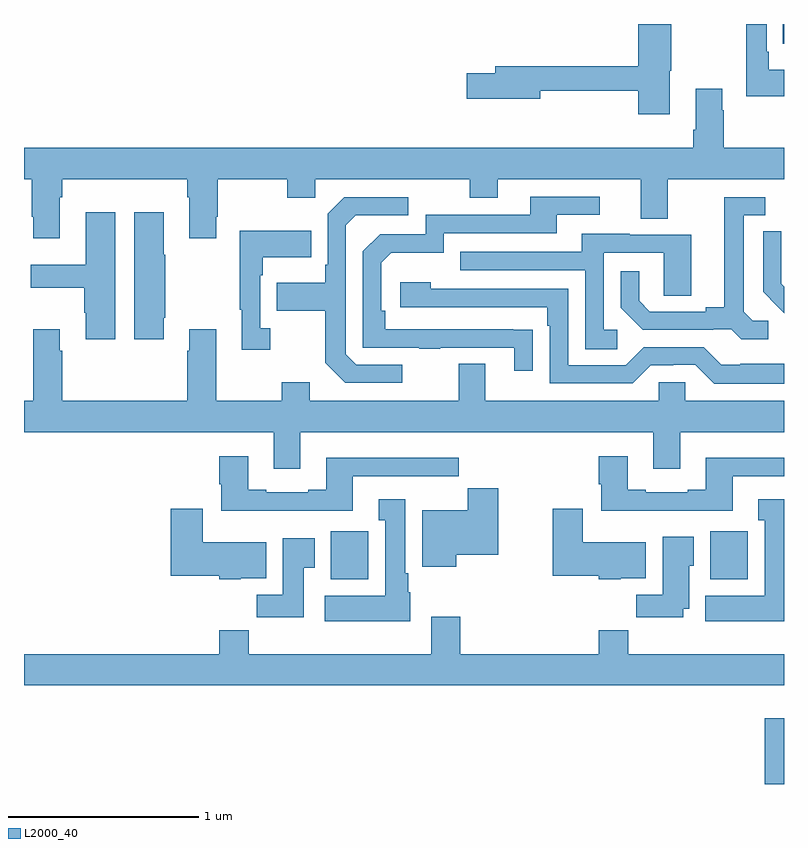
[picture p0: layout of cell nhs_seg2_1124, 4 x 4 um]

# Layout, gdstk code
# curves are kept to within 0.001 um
import gdstk
lib = gdstk.Library(unit=1e-6, precision=1e-09)
def R(c, l, rs):  # rectangles x0, y0, x1, y1
    for r in rs: c.add(gdstk.rectangle(r[:2], r[2:], *l))
def P(c, l, *ps):  # polygons
    for p in ps: c.add(gdstk.Polygon(p, *l))
L2000_40 = (2000, 40)

nhs_seg2_1124 = lib.new_cell('nhs_seg2_1124')
R(nhs_seg2_1124, L2000_40, [(172.898,629.8,173,630.145), (170.615,630.878,170.811,631.129), (172.613,630.878,172.809,631.129), (172.993,633.695,173,633.8)])
P(nhs_seg2_1124, L2000_40, [(172.399,633.555),(172.407,633.555),(172.407,633.8),(172.232,633.8),(172.232,633.578),(171.479,633.578),(171.479,633.542),(171.33,633.542),(171.33,633.407),(171.718,633.407),(171.718,633.45),(172.232,633.45),(172.232,633.324),(172.399,633.324)],
  [(173,633.559),(172.921,633.559),(172.921,633.655),(172.908,633.655),(172.908,633.8),(172.8,633.8),(172.8,633.419),(173,633.419)],
  [(169,632.984),(169.042,632.984),(169.042,632.785),(169.049,632.785),(169.049,632.673),(169.189,632.673),(169.189,632.888),(169.202,632.888),(169.202,632.984),(169.859,632.984),(169.859,632.888),(169.871,632.888),(169.871,632.673),(170.011,632.673),(170.011,632.785),(170.019,632.785),(170.019,632.984),(170.386,632.984),(170.386,632.885),(170.532,632.885),(170.532,632.984),(171.346,632.984),(171.346,632.885),(171.493,632.885),(171.493,632.984),(172.247,632.984),(172.247,632.776),(172.387,632.776),(172.387,632.984),(173,632.984),(173,633.148),(172.683,633.148),(172.683,633.347),(172.675,633.347),(172.675,633.46),(172.535,633.46),(172.535,633.244),(172.523,633.244),(172.523,633.148),(169,633.148)],
  [(171.677,632.192),(170.9,632.193),(170.9,632.29),(170.88,632.29),(170.88,632.544),(170.933,632.597),(171.21,632.597),(171.21,632.7),(171.805,632.7),(171.805,632.796),(172.03,632.796),(172.03,632.892),(171.665,632.892),(171.665,632.796),(171.114,632.796),(171.114,632.694),(170.874,632.694),(170.784,632.604),(170.784,632.097),(171.079,632.097),(171.079,632.092),(171.191,632.092),(171.191,632.097),(171.581,632.097),(171.581,631.974),(171.677,631.974)],
  [(170.992,632.007),(170.748,632.007),(170.694,632.061),(170.694,632.742),(170.745,632.793),(171.022,632.793),(171.022,632.889),(170.685,632.889),(170.598,632.802),(170.598,632.533),(170.586,632.533),(170.586,632.437),(170.329,632.437),(170.329,632.29),(170.586,632.29),(170.586,632.017),(170.691,631.911),(170.992,631.911)],
  [(172.918,632.238),(172.836,632.238),(172.789,632.285),(172.789,632.793),(172.9,632.793),(172.9,632.889),(172.685,632.889),(172.685,632.309),(172.589,632.309),(172.589,632.286),(172.294,632.286),(172.237,632.343),(172.237,632.5),(172.14,632.5),(172.14,632.306),(172.256,632.19),(172.628,632.19),(172.628,632.193),(172.722,632.193),(172.774,632.141),(172.918,632.141)],
  [(169.48,632.809),(169.325,632.809),(169.325,632.533),(169.035,632.533),(169.035,632.411),(169.318,632.411),(169.318,632.281),(169.325,632.281),(169.325,632.142),(169.48,632.142)],
  [(169.735,632.254),(169.743,632.254),(169.743,632.585),(169.735,632.585),(169.735,632.809),(169.58,632.809),(169.58,632.142),(169.735,632.142)],
  [(170.296,632.198),(170.244,632.198),(170.244,632.477),(170.257,632.477),(170.257,632.573),(170.513,632.573),(170.513,632.713),(170.136,632.713),(170.136,632.297),(170.147,632.297),(170.147,632.085),(170.296,632.085)],
  [(173,632.417),(172.985,632.432),(172.985,632.554),(172.986,632.554),(172.986,632.708),(172.89,632.708),(172.89,632.39),(172.963,632.317),(172.962,632.316),(173,632.278)],
  [(172.123,632.19),(172.05,632.19),(172.05,632.595),(172.368,632.595),(172.368,632.371),(172.513,632.371),(172.513,632.691),(172.189,632.691),(172.189,632.695),(171.935,632.695),(171.935,632.601),(171.295,632.601),(171.295,632.505),(171.954,632.505),(171.954,632.089),(172.123,632.089)],
  [(173,632.011),(172.771,632.011),(172.771,632.007),(172.671,632.007),(172.578,632.1),(172.263,632.1),(172.167,632.004),(171.864,632.004),(171.864,632.406),(171.14,632.406),(171.14,632.44),(170.979,632.44),(170.979,632.31),(171.755,632.31),(171.755,632.213),(171.768,632.213),(171.768,631.908),(172.203,631.908),(172.299,632.004),(172.418,632.004),(172.418,632.007),(172.533,632.007),(172.633,631.907),(173,631.907)],
  [(170.455,631.652),(172.313,631.652),(172.313,631.458),(172.453,631.458),(172.453,631.652),(173,631.652),(173,631.816),(172.479,631.816),(172.479,631.914),(172.341,631.914),(172.341,631.816),(171.427,631.816),(171.427,632.011),(171.287,632.011),(171.287,631.816),(170.503,631.816),(170.503,631.915),(170.356,631.915),(170.356,631.816),(170.011,631.816),(170.011,632.194),(169.871,632.194),(169.871,632.081),(169.859,632.081),(169.859,631.816),(169.202,631.816),(169.202,632.081),(169.189,632.081),(169.189,632.194),(169.049,632.194),(169.049,631.816),(169,631.816),(169,631.652),(170.315,631.652),(170.315,631.458),(170.455,631.458)],
  [(172.729,631.419),(173,631.419),(173,631.516),(172.589,631.516),(172.589,631.348),(172.493,631.348),(172.493,631.335),(172.273,631.335),(172.273,631.348),(172.177,631.348),(172.177,631.525),(172.025,631.525),(172.025,631.377),(172.037,631.377),(172.037,631.238),(172.729,631.238)],
  [(170.731,631.419),(171.179,631.419),(171.179,631.421),(171.288,631.421),(171.288,631.516),(170.591,631.516),(170.591,631.348),(170.495,631.348),(170.495,631.335),(170.275,631.335),(170.275,631.348),(170.179,631.348),(170.179,631.525),(170.027,631.525),(170.027,631.377),(170.039,631.377),(170.039,631.238),(170.731,631.238)],
  [(171.274,631.007),(171.496,631.007),(171.496,631.356),(171.335,631.356),(171.335,631.24),(171.095,631.24),(171.095,630.944),(171.274,630.944)],
  [(171.034,630.81),(171.022,630.81),(171.022,630.91),(171.007,630.91),(171.007,631.3),(170.867,631.3),(170.867,631.187),(170.9,631.187),(170.9,630.79),(170.583,630.79),(170.583,630.656),(171.034,630.656)],
  [(173,631.3),(172.865,631.3),(172.865,631.187),(172.898,631.187),(172.898,630.79),(172.586,630.79),(172.586,630.656),(173,630.656)],
  [(170.142,630.884),(170.275,630.884),(170.275,631.072),(169.942,631.072),(169.942,631.249),(169.772,631.249),(169.772,630.896),(170.028,630.896),(170.028,630.878),(170.142,630.878)],
  [(172.14,630.884),(172.273,630.884),(172.273,631.072),(171.94,631.072),(171.94,631.249),(171.782,631.249),(171.782,630.896),(172.026,630.896),(172.026,630.878),(172.14,630.878)],
  [(172.471,630.722),(172.501,630.722),(172.501,630.948),(172.525,630.948),(172.525,631.102),(172.361,631.102),(172.361,630.796),(172.222,630.796),(172.222,630.678),(172.471,630.678)],
  [(170.473,630.937),(170.53,630.937),(170.53,631.093),(170.363,631.093),(170.363,630.796),(170.224,630.796),(170.224,630.678),(170.473,630.678)],
  [(173,630.484),(172.181,630.484),(172.181,630.608),(172.025,630.608),(172.025,630.484),(171.296,630.484),(171.296,630.679),(171.143,630.679),(171.143,630.484),(170.183,630.484),(170.183,630.608),(170.027,630.608),(170.027,630.484),(169,630.484),(169,630.32),(173,630.32)])

lib.write_gds('nhs_seg2_1124.gds')
